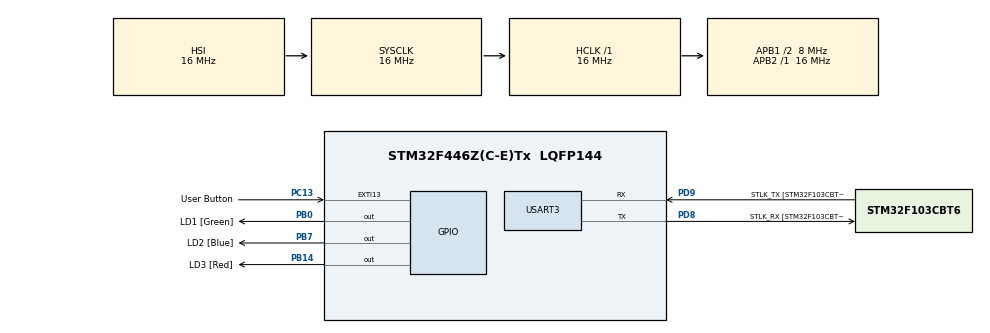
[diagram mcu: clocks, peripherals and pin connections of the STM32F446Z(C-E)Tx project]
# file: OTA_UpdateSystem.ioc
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FREERTOS.Tasks01=application1,24,128,StartApplication1,Default,NULL,Dynamic,NULL,NULL;application2,8,128,StartApplication2,Default,NULL,Dynamic,NULL,NULL
Mcu.Family=STM32F4
Mcu.Name=STM32F446Z(C-E)Tx
Mcu.Package=LQFP144
NVIC.EXTI15_10_IRQn=true\:5\:0\:false\:false\:true\:true\:true\:true\:true
NVIC.PriorityGroup=NVIC_PRIORITYGROUP_4
NVIC.TIM6_DAC_IRQn=true\:15\:0\:false\:false\:true\:false\:false\:true\:true
NVIC.TimeBase=TIM6_DAC_IRQn
NVIC.TimeBaseIP=TIM6
PB0.GPIO_Label=LD1 [Green]
PB0.Signal=GPIO_Output
PB14.GPIO_Label=LD3 [Red]
PB14.Signal=GPIO_Output
PB7.GPIO_Label=LD2 [Blue]
PB7.Signal=GPIO_Output
PC13.GPIO_Label=User Button
PC13.GPIO_ModeDefaultEXTI=GPIO_MODE_IT_RISING
PC13.Signal=GPXTI13
PD8.GPIO_Label=STLK_RX [STM32F103CBT6_PA3]
PD8.Mode=Asynchronous
PD8.Signal=USART3_TX
PD9.GPIO_Label=STLK_TX [STM32F103CBT6_PA2]
PD9.Mode=Asynchronous
PD9.Signal=USART3_RX
ProjectManager.HeapSize=0x200
ProjectManager.StackSize=0x400
ProjectManager.TargetToolchain=STM32CubeIDE
RCC.48MHZClocksFreq_Value=24000000
RCC.AHBFreq_Value=16000000
RCC.APB1CLKDivider=RCC_HCLK_DIV2
RCC.APB1Freq_Value=8000000
RCC.APB1TimFreq_Value=16000000
RCC.APB2Freq_Value=16000000
RCC.APB2TimFreq_Value=16000000
RCC.CortexFreq_Value=16000000
RCC.HCLKFreq_Value=16000000
RCC.HSE_VALUE=8000000
RCC.HSI_VALUE=16000000
RCC.LSE_VALUE=32768
RCC.PLLMUL=RCC_PLL_MUL9
RCC.PRESCALERUSB=RCC_USBCLKSOURCE_PLL_DIV1_5
RCC.SYSCLKFreq_VALUE=16000000
RCC.SYSCLKSourceVirtual=RCC_SYSCLKSOURCE_PLLCLK
RCC.USBFreq_Value=96000000
RCC.VCOOutputFreq_Value=192000000
USART3.VirtualMode=VM_ASYNC
VP_FREERTOS_VS_CMSIS_V2.Mode=CMSIS_V2
VP_SYS_VS_tim6.Mode=TIM6
board=NUCLEO-F446ZE

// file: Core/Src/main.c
/* USER CODE BEGIN Header */
/**
  ******************************************************************************
  * @file           : main.c
  * @brief          : Main program body
  ******************************************************************************
  * @attention
  *
  * Copyright (c) 2024 STMicroelectronics.
  * All rights reserved.
  *
  * This software is licensed under terms that can be found in the LICENSE file
  * in the root directory of this software component.
  * If no LICENSE file comes with this software, it is provided AS-IS.
  *
  ******************************************************************************
  */
/* USER CODE END Header */
#include "main.h"
#include "cmsis_os.h"

/* USER CODE BEGIN Includes */
#include <stdio.h>
#include "applications.h"
/* USER CODE END Includes */

/* USER CODE BEGIN PD */
#define SECTOR_2_START_ADDRESS 0x08008000
#define SECTOR_4_START_ADDRESS 0x08010000
/* USER CODE END PD */

UART_HandleTypeDef huart3;

/* Definitions for application1 */
osThreadId_t application1Handle;
const osThreadAttr_t application1_attributes = {
  .name = "application1",
  .stack_size = 128 * 4,
  .priority = (osPriority_t) osPriorityNormal,
};
/* Definitions for application2 */
osThreadId_t application2Handle;
const osThreadAttr_t application2_attributes = {
  .name = "application2",
  .stack_size = 128 * 4,
  .priority = (osPriority_t) osPriorityLow,
};
/* USER CODE BEGIN PV */
volatile uint8_t buttonPressed = 0; // Flag to indicate button press

/* USER CODE END PV */

void SystemClock_Config(void);
static void MX_GPIO_Init(void);
static void MX_USART3_UART_Init(void);
void StartApplication1(void *argument);
void StartApplication2(void *argument);

/* USER CODE BEGIN PFP */
void HAL_GPIO_EXTI_Callback(uint16_t GPIO_Pin);
/* USER CODE END PFP */

int main(void)
{

  /* MCU Configuration--------------------------------------------------------*/

  /* Reset of all peripherals, Initializes the Flash interface and the Systick. */
  HAL_Init();

  /* Configure the system clock */
  SystemClock_Config();

  /* Initialize all configured peripherals */
  MX_GPIO_Init();
  MX_USART3_UART_Init();

  /* Init scheduler */
  osKernelInitialize();

  /* Create the thread(s) */
  /* creation of application1 */
  application1Handle = osThreadNew(StartApplication1, NULL, &application1_attributes);

  /* creation of application2 */
  application2Handle = osThreadNew(StartApplication2, NULL, &application2_attributes);

  /* Start scheduler */
  osKernelStart();

  /* We should never get here as control is now taken by the scheduler */
  /* Infinite loop */
  while (1)
  {

  }
}

void SystemClock_Config(void)
{
  RCC_OscInitTypeDef RCC_OscInitStruct = {0};
  RCC_ClkInitTypeDef RCC_ClkInitStruct = {0};

  /** Configure the main internal regulator output voltage
  */
  __HAL_RCC_PWR_CLK_ENABLE();
  __HAL_PWR_VOLTAGESCALING_CONFIG(PWR_REGULATOR_VOLTAGE_SCALE3);

  /** Initializes the RCC Oscillators according to the specified parameters
  * in the RCC_OscInitTypeDef structure.
  */
  RCC_OscInitStruct.OscillatorType = RCC_OSCILLATORTYPE_HSI;
  RCC_OscInitStruct.HSIState = RCC_HSI_ON;
  RCC_OscInitStruct.HSICalibrationValue = RCC_HSICALIBRATION_DEFAULT;
  RCC_OscInitStruct.PLL.PLLState = RCC_PLL_NONE;
  if (HAL_RCC_OscConfig(&RCC_OscInitStruct) != HAL_OK)
  {
    Error_Handler();
  }

  /** Initializes the CPU, AHB and APB buses clocks
  */
  RCC_ClkInitStruct.ClockType = RCC_CLOCKTYPE_HCLK|RCC_CLOCKTYPE_SYSCLK
                              |RCC_CLOCKTYPE_PCLK1|RCC_CLOCKTYPE_PCLK2;
  RCC_ClkInitStruct.SYSCLKSource = RCC_SYSCLKSOURCE_HSI;
  RCC_ClkInitStruct.AHBCLKDivider = RCC_SYSCLK_DIV1;
  RCC_ClkInitStruct.APB1CLKDivider = RCC_HCLK_DIV2;
  RCC_ClkInitStruct.APB2CLKDivider = RCC_HCLK_DIV1;

  if (HAL_RCC_ClockConfig(&RCC_ClkInitStruct, FLASH_LATENCY_0) != HAL_OK)
  {
    Error_Handler();
  }
}

static void MX_USART3_UART_Init(void)
{

  huart3.Instance = USART3;
  huart3.Init.BaudRate = 115200;
  huart3.Init.WordLength = UART_WORDLENGTH_8B;
  huart3.Init.StopBits = UART_STOPBITS_1;
  huart3.Init.Parity = UART_PARITY_NONE;
  huart3.Init.Mode = UART_MODE_TX_RX;
  huart3.Init.HwFlowCtl = UART_HWCONTROL_NONE;
  huart3.Init.OverSampling = UART_OVERSAMPLING_16;
  if (HAL_UART_Init(&huart3) != HAL_OK)
  {
    Error_Handler();
  }

}

static void MX_GPIO_Init(void)
{
  GPIO_InitTypeDef GPIO_InitStruct = {0};

  /* GPIO Ports Clock Enable */
  __HAL_RCC_GPIOC_CLK_ENABLE();
  __HAL_RCC_GPIOB_CLK_ENABLE();
  __HAL_RCC_GPIOD_CLK_ENABLE();

  /*Configure GPIO pin Output Level */
  HAL_GPIO_WritePin(GPIOB, LD1_Pin|LD3_Pin|LD2_Pin, GPIO_PIN_RESET);

  /*Configure GPIO pin : User_Button_Pin */
  GPIO_InitStruct.Pin = User_Button_Pin;
  GPIO_InitStruct.Mode = GPIO_MODE_IT_RISING;
  GPIO_InitStruct.Pull = GPIO_NOPULL;
  HAL_GPIO_Init(User_Button_GPIO_Port, &GPIO_InitStruct);

  /*Configure GPIO pins : LD1_Pin LD3_Pin LD2_Pin */
  GPIO_InitStruct.Pin = LD1_Pin|LD3_Pin|LD2_Pin;
  GPIO_InitStruct.Mode = GPIO_MODE_OUTPUT_PP;
  GPIO_InitStruct.Pull = GPIO_NOPULL;
  GPIO_InitStruct.Speed = GPIO_SPEED_FREQ_LOW;
  HAL_GPIO_Init(GPIOB, &GPIO_InitStruct);

  /* EXTI interrupt init*/
  HAL_NVIC_SetPriority(EXTI15_10_IRQn, 5, 0);
  HAL_NVIC_EnableIRQ(EXTI15_10_IRQn);

}

/* USER CODE BEGIN 4 */
/* Callback function for external interrupts */
void HAL_GPIO_EXTI_Callback(uint16_t GPIO_Pin) {
    if (GPIO_Pin == User_Button_Pin) {
        // Set the flag to indicate button press
        printf("Button is being pressed \r\n");
        if (buttonPressed == 0)
        {
        	buttonPressed = 1;
        }
        else buttonPressed = 0;

    }
}

#ifdef __GNUC__

 /* With GCC, small printf (option LD Linker->Libraries->Small printf set to 'Yes') calls __io_putchar() */
int __io_putchar(int ch)
#else
int fputc(int ch, FILE *f)
#endif /* __GNUC__ */
{
	HAL_UART_Transmit(&huart3, (uint8_t *)&ch, 1, HAL_MAX_DELAY);
	return ch;
}

/* USER CODE END 4 */

void StartApplication1(void *argument)
{
  /* USER CODE BEGIN 5 */
  /* Infinite loop */
  for(;;)
  {

	application1();
    osDelay(1000);
  }
  /* USER CODE END 5 */
}

void StartApplication2(void *argument)
{
  /* USER CODE BEGIN StartApplication2 */
	//Flash_Erase_Write();
  /* Infinite loop */
	  for(;;)
	  {

		  if (buttonPressed<1)
		  {
			  application2();
			  osDelay(1000);
		  }

	  }

  /* USER CODE END StartApplication2 */
}

void HAL_TIM_PeriodElapsedCallback(TIM_HandleTypeDef *htim)
{
  if (htim->Instance == TIM6) {
    HAL_IncTick();
  }
}

void Error_Handler(void)
{
  __disable_irq();
  while (1)
  {
  }
}
